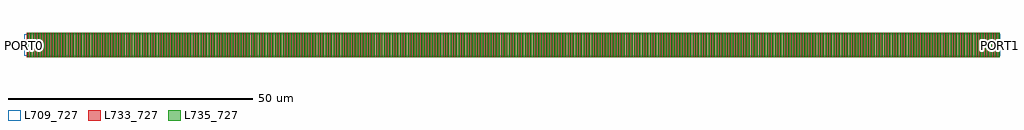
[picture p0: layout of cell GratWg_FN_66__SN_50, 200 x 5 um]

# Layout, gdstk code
import gdstk
lib = gdstk.Library(unit=1e-6, precision=1e-09)
def R(c, l, rs):  # rectangles x0, y0, x1, y1
    for r in rs: c.add(gdstk.rectangle(r[:2], r[2:], *l))
def A(c, l, x, y, w, h, nx, ny, dx, dy):  # array of equal rectangles
    R(c, l, [(x+i*dx, y+j*dy, x+i*dx+w, y+j*dy+h) for i in range(nx) for j in range(ny)])
L709_727 = (709, 727)
L733_727 = (733, 727)
L735_727 = (735, 727)

gratwg_fn_66__sn_50 = lib.new_cell('GratWg_FN_66__SN_50')
R(gratwg_fn_66__sn_50, L709_727, [(0,-2.25,200,2.25)])
A(gratwg_fn_66__sn_50, L733_727, 0.53, -2.5, 0.36, 5, 366, 1, 0.545, 0)
A(gratwg_fn_66__sn_50, L735_727, 0.74, -2.5, 0.272, 5, 366, 1, 0.545, 0)
gratwg_fn_66__sn_50.add(gdstk.Label('PORT0', (0,0), layer=709, texttype=201))
gratwg_fn_66__sn_50.add(gdstk.Label('PORT1', (200,0), layer=709, texttype=201))
gratwg_fn_66__sn_50.add(gdstk.Label('sub!', (0,0), layer=1002, texttype=6))

lib.write_gds('GratWg_FN_66__SN_50.gds')
